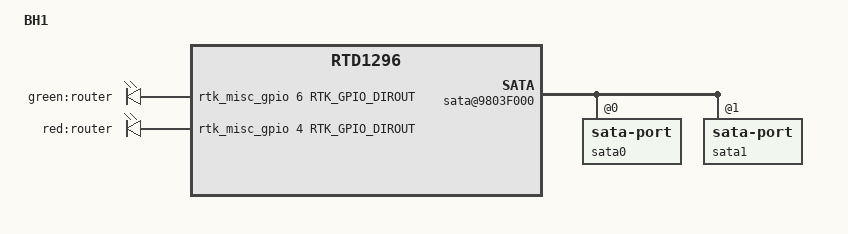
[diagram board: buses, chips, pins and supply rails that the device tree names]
/dts-v1/;

#include "rtd1296-4GB.dtsi"

/include/ "rtd1296-nonat.dtsi"

/ {
	model= "BH1";
	chosen {
		default-hostname = "BH1";
	};

	aliases {
		led-boot = &led_green;
		led-failsafe = &led_red;
		led-running = &led_green;
		led-upgrade = &led_red;
	};

	sata@9803F000 {
		sata0: sata-port@0 {
			/delete-property/ gpios; // bh1 SATA power is not assignd to gpio, (original gpio56)
		};
		sata1: sata-port@1 {
			/delete-property/ gpios; // bh1 SATA power is not assignd to gpio, (original igpio15)
		};
	};
	ehci@98013000 {
		status = "disabled";
	};
	ohci@98013400 {
		status = "disabled";
	};
	rtk_dwc3_drd@98013200 {
		dwc3_drd@98020000 {
			dr_mode = "host";
		};
		rtk_dwc3_drd_type_c@0 {
			/delete-property/ drd_mode;
		};
	};
	rtk_dwc3_u2host@98013E00 {
		status = "disabled";
		dwc3_u2host@98029000 {
			status = "disabled";
		};
	};
	dwc3_u2host_usb2phy@0 {
		status = "disabled";
	};
	usb_phy_rle0599@0 {
		status = "disabled";
	};
	rtk_usb_power_manager@0 {
		/* For port1 and port2 */
		gpio1: gpio1 {
			realtek,power-gpio;
		};
		/* For port2 */
		gpio2: gpio2 {
			realtek,power-gpio;
		};
	};

	leds {
		compatible = "gpio-leds";

		led_green: green {
			label = "green:router";
			gpios = <&rtk_misc_gpio 6 RTK_GPIO_DIROUT GPIO_ACTIVE_HIGH>;
			default-state = "on";
		};
		led_red: red {
			label = "red:router";
			gpios = <&rtk_misc_gpio 4 RTK_GPIO_DIROUT GPIO_ACTIVE_HIGH>;
		};
	};
};
